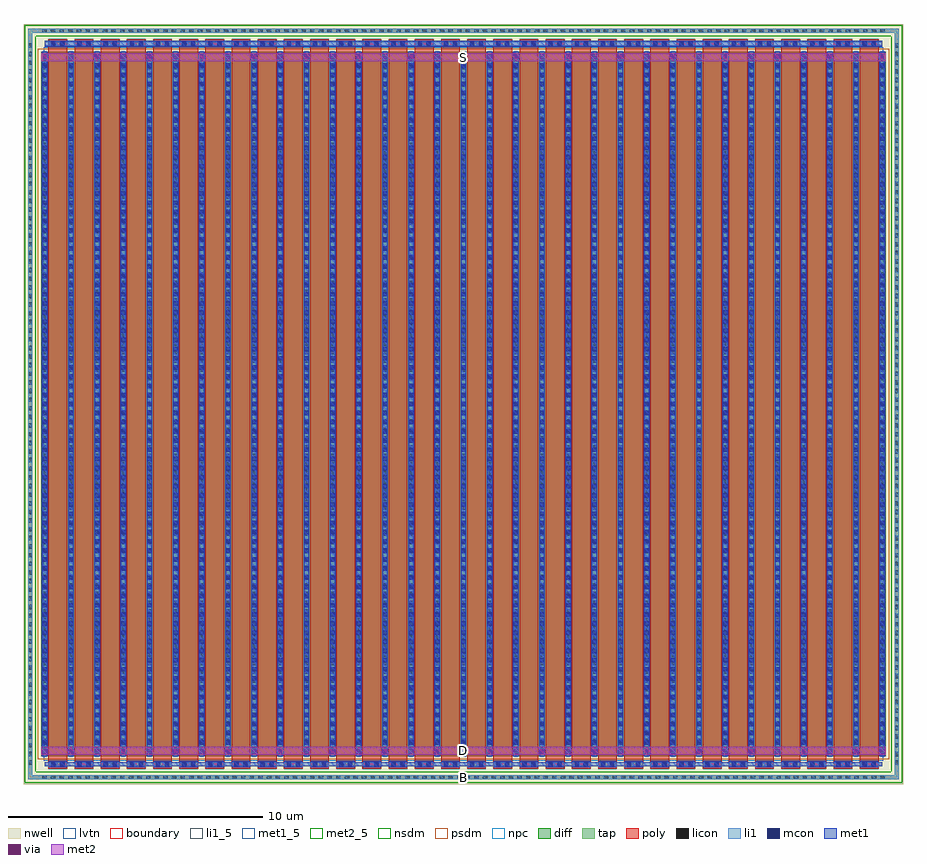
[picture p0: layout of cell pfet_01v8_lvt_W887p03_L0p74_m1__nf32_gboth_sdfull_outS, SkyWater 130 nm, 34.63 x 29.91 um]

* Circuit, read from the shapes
.subckt pfet_01v8_lvt_W887p03_L0p74_m1__nf32_gboth_sdfull_outS B D G S
XM1 D G S B sky130_fd_pr__pfet_01v8_lvt w=27.72 l=0.74 m=32
.ends

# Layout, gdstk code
import gdstk
lib = gdstk.Library(unit=1e-6, precision=1e-09)
def R(c, l, rs):  # rectangles x0, y0, x1, y1
    for r in rs: c.add(gdstk.rectangle(r[:2], r[2:], *l))
def A(c, l, x, y, w, h, nx, ny, dx, dy):  # array of equal rectangles
    R(c, l, [(x+i*dx, y+j*dy, x+i*dx+w, y+j*dy+h) for i in range(nx) for j in range(ny)])
nwell = (64, 20)
diff = (65, 20)
tap = (65, 44)
poly = (66, 20)
licon = (66, 44)
li1_5 = (67, 5)
li1 = (67, 20)
mcon = (67, 44)
met1_5 = (68, 5)
met1 = (68, 20)
via = (68, 44)
met2_5 = (69, 5)
met2 = (69, 20)
nsdm = (93, 44)
psdm = (94, 20)
npc = (95, 20)
lvtn = (125, 44)
boundary = (235, 4)

sky130_fd_pr__pfet_01v8_ = lib.new_cell('sky130_fd_pr__pfet_01v8_lvt_BMU26W')
R(sky130_fd_pr__pfet_01v8_, nwell, [(-17.315,-14.955,17.315,14.955)])
R(sky130_fd_pr__pfet_01v8_, diff, [(-16.625,-13.86,16.625,13.86)])
R(sky130_fd_pr__pfet_01v8_, tap, [(-17.135,-14.775,17.135,-14.605), (-17.135,-14.605,-16.965,14.605), (16.965,-14.605,17.135,14.605), (-17.135,14.605,17.135,14.775)])
A(sky130_fd_pr__pfet_01v8_, poly, -16.335, -14.345, 0.74, 28.69, 32, 1, 1.03, 0)
A(sky130_fd_pr__pfet_01v8_, licon, -16.575, -14.775, 0.17, 0.17, 98, 2, 0.34, 29.38)
A(sky130_fd_pr__pfet_01v8_, licon, -17.135, -14.195, 0.17, 0.17, 1, 84, 0, 0.34)
A(sky130_fd_pr__pfet_01v8_, licon, 16.965, -14.195, 0.17, 0.17, 1, 84, 0, 0.34)
A(sky130_fd_pr__pfet_01v8_, licon, -16.565, -13.685, 0.17, 0.17, 33, 81, 1.03, 0.34)
R(sky130_fd_pr__pfet_01v8_, licon, [(-16.22,-14.265,-16.05,-14.095), (-15.88,-14.265,-15.71,-14.095), (-15.19,-14.265,-15.02,-14.095), (-14.85,-14.265,-14.68,-14.095), (-14.16,-14.265,-13.99,-14.095), (-13.82,-14.265,-13.65,-14.095), (-13.13,-14.265,-12.96,-14.095), (-12.79,-14.265,-12.62,-14.095), (-12.1,-14.265,-11.93,-14.095), (-11.76,-14.265,-11.59,-14.095), (-11.07,-14.265,-10.9,-14.095), (-10.73,-14.265,-10.56,-14.095), (-10.04,-14.265,-9.87,-14.095), (-9.7,-14.265,-9.53,-14.095), (-9.01,-14.265,-8.84,-14.095), (-8.67,-14.265,-8.5,-14.095), (-7.98,-14.265,-7.81,-14.095), (-7.64,-14.265,-7.47,-14.095), (-6.95,-14.265,-6.78,-14.095), (-6.61,-14.265,-6.44,-14.095), (-5.92,-14.265,-5.75,-14.095), (-5.58,-14.265,-5.41,-14.095), (-4.89,-14.265,-4.72,-14.095), (-4.55,-14.265,-4.38,-14.095), (-3.86,-14.265,-3.69,-14.095), (-3.52,-14.265,-3.35,-14.095), (-2.83,-14.265,-2.66,-14.095), (-2.49,-14.265,-2.32,-14.095), (-1.8,-14.265,-1.63,-14.095), (-1.46,-14.265,-1.29,-14.095), (-0.77,-14.265,-0.6,-14.095), (-0.43,-14.265,-0.26,-14.095), (0.26,-14.265,0.43,-14.095), (0.6,-14.265,0.77,-14.095), (1.29,-14.265,1.46,-14.095), (1.63,-14.265,1.8,-14.095), (2.32,-14.265,2.49,-14.095), (2.66,-14.265,2.83,-14.095), (3.35,-14.265,3.52,-14.095), (3.69,-14.265,3.86,-14.095), (4.38,-14.265,4.55,-14.095), (4.72,-14.265,4.89,-14.095), (5.41,-14.265,5.58,-14.095), (5.75,-14.265,5.92,-14.095), (6.44,-14.265,6.61,-14.095), (6.78,-14.265,6.95,-14.095), (7.47,-14.265,7.64,-14.095), (7.81,-14.265,7.98,-14.095), (8.5,-14.265,8.67,-14.095), (8.84,-14.265,9.01,-14.095), (9.53,-14.265,9.7,-14.095), (9.87,-14.265,10.04,-14.095), (10.56,-14.265,10.73,-14.095), (10.9,-14.265,11.07,-14.095), (11.59,-14.265,11.76,-14.095), (11.93,-14.265,12.1,-14.095), (12.62,-14.265,12.79,-14.095), (12.96,-14.265,13.13,-14.095), (13.65,-14.265,13.82,-14.095), (13.99,-14.265,14.16,-14.095), (14.68,-14.265,14.85,-14.095), (15.02,-14.265,15.19,-14.095), (15.71,-14.265,15.88,-14.095), (16.05,-14.265,16.22,-14.095), (-16.22,14.095,-16.05,14.265), (-15.88,14.095,-15.71,14.265), (-15.19,14.095,-15.02,14.265), (-14.85,14.095,-14.68,14.265), (-14.16,14.095,-13.99,14.265), (-13.82,14.095,-13.65,14.265), (-13.13,14.095,-12.96,14.265), (-12.79,14.095,-12.62,14.265), (-12.1,14.095,-11.93,14.265), (-11.76,14.095,-11.59,14.265), (-11.07,14.095,-10.9,14.265), (-10.73,14.095,-10.56,14.265), (-10.04,14.095,-9.87,14.265), (-9.7,14.095,-9.53,14.265), (-9.01,14.095,-8.84,14.265), (-8.67,14.095,-8.5,14.265), (-7.98,14.095,-7.81,14.265), (-7.64,14.095,-7.47,14.265), (-6.95,14.095,-6.78,14.265), (-6.61,14.095,-6.44,14.265), (-5.92,14.095,-5.75,14.265), (-5.58,14.095,-5.41,14.265), (-4.89,14.095,-4.72,14.265), (-4.55,14.095,-4.38,14.265), (-3.86,14.095,-3.69,14.265), (-3.52,14.095,-3.35,14.265), (-2.83,14.095,-2.66,14.265), (-2.49,14.095,-2.32,14.265), (-1.8,14.095,-1.63,14.265), (-1.46,14.095,-1.29,14.265), (-0.77,14.095,-0.6,14.265), (-0.43,14.095,-0.26,14.265), (0.26,14.095,0.43,14.265), (0.6,14.095,0.77,14.265), (1.29,14.095,1.46,14.265), (1.63,14.095,1.8,14.265), (2.32,14.095,2.49,14.265), (2.66,14.095,2.83,14.265), (3.35,14.095,3.52,14.265), (3.69,14.095,3.86,14.265), (4.38,14.095,4.55,14.265), (4.72,14.095,4.89,14.265), (5.41,14.095,5.58,14.265), (5.75,14.095,5.92,14.265), (6.44,14.095,6.61,14.265), (6.78,14.095,6.95,14.265), (7.47,14.095,7.64,14.265), (7.81,14.095,7.98,14.265), (8.5,14.095,8.67,14.265), (8.84,14.095,9.01,14.265), (9.53,14.095,9.7,14.265), (9.87,14.095,10.04,14.265), (10.56,14.095,10.73,14.265), (10.9,14.095,11.07,14.265), (11.59,14.095,11.76,14.265), (11.93,14.095,12.1,14.265), (12.62,14.095,12.79,14.265), (12.96,14.095,13.13,14.265), (13.65,14.095,13.82,14.265), (13.99,14.095,14.16,14.265), (14.68,14.095,14.85,14.265), (15.02,14.095,15.19,14.265), (15.71,14.095,15.88,14.265), (16.05,14.095,16.22,14.265)])
A(sky130_fd_pr__pfet_01v8_, li1, -16.565, -13.88, 0.17, 27.76, 33, 1, 1.03, 0)
R(sky130_fd_pr__pfet_01v8_, li1, [(-17.135,-14.775,17.135,-14.605), (-17.135,-14.605,-16.965,14.605), (16.965,-14.605,17.135,14.605), (-16.48,-14.265,16.48,-14.095), (-16.48,14.095,16.48,14.265), (-17.135,14.605,17.135,14.775)])
A(sky130_fd_pr__pfet_01v8_, mcon, -16.565, -13.765, 0.17, 0.17, 33, 77, 1.03, 0.36)
R(sky130_fd_pr__pfet_01v8_, mcon, [(-16.23,-14.265,-16.06,-14.095), (-15.87,-14.265,-15.7,-14.095), (-15.2,-14.265,-15.03,-14.095), (-14.84,-14.265,-14.67,-14.095), (-14.17,-14.265,-14,-14.095), (-13.81,-14.265,-13.64,-14.095), (-13.14,-14.265,-12.97,-14.095), (-12.78,-14.265,-12.61,-14.095), (-12.11,-14.265,-11.94,-14.095), (-11.75,-14.265,-11.58,-14.095), (-11.08,-14.265,-10.91,-14.095), (-10.72,-14.265,-10.55,-14.095), (-10.05,-14.265,-9.88,-14.095), (-9.69,-14.265,-9.52,-14.095), (-9.02,-14.265,-8.85,-14.095), (-8.66,-14.265,-8.49,-14.095), (-7.99,-14.265,-7.82,-14.095), (-7.63,-14.265,-7.46,-14.095), (-6.96,-14.265,-6.79,-14.095), (-6.6,-14.265,-6.43,-14.095), (-5.93,-14.265,-5.76,-14.095), (-5.57,-14.265,-5.4,-14.095), (-4.9,-14.265,-4.73,-14.095), (-4.54,-14.265,-4.37,-14.095), (-3.87,-14.265,-3.7,-14.095), (-3.51,-14.265,-3.34,-14.095), (-2.84,-14.265,-2.67,-14.095), (-2.48,-14.265,-2.31,-14.095), (-1.81,-14.265,-1.64,-14.095), (-1.45,-14.265,-1.28,-14.095), (-0.78,-14.265,-0.61,-14.095), (-0.42,-14.265,-0.25,-14.095), (0.25,-14.265,0.42,-14.095), (0.61,-14.265,0.78,-14.095), (1.28,-14.265,1.45,-14.095), (1.64,-14.265,1.81,-14.095), (2.31,-14.265,2.48,-14.095), (2.67,-14.265,2.84,-14.095), (3.34,-14.265,3.51,-14.095), (3.7,-14.265,3.87,-14.095), (4.37,-14.265,4.54,-14.095), (4.73,-14.265,4.9,-14.095), (5.4,-14.265,5.57,-14.095), (5.76,-14.265,5.93,-14.095), (6.43,-14.265,6.6,-14.095), (6.79,-14.265,6.96,-14.095), (7.46,-14.265,7.63,-14.095), (7.82,-14.265,7.99,-14.095), (8.49,-14.265,8.66,-14.095), (8.85,-14.265,9.02,-14.095), (9.52,-14.265,9.69,-14.095), (9.88,-14.265,10.05,-14.095), (10.55,-14.265,10.72,-14.095), (10.91,-14.265,11.08,-14.095), (11.58,-14.265,11.75,-14.095), (11.94,-14.265,12.11,-14.095), (12.61,-14.265,12.78,-14.095), (12.97,-14.265,13.14,-14.095), (13.64,-14.265,13.81,-14.095), (14,-14.265,14.17,-14.095), (14.67,-14.265,14.84,-14.095), (15.03,-14.265,15.2,-14.095), (15.7,-14.265,15.87,-14.095), (16.06,-14.265,16.23,-14.095), (-16.23,14.095,-16.06,14.265), (-15.87,14.095,-15.7,14.265), (-15.2,14.095,-15.03,14.265), (-14.84,14.095,-14.67,14.265), (-14.17,14.095,-14,14.265), (-13.81,14.095,-13.64,14.265), (-13.14,14.095,-12.97,14.265), (-12.78,14.095,-12.61,14.265), (-12.11,14.095,-11.94,14.265), (-11.75,14.095,-11.58,14.265), (-11.08,14.095,-10.91,14.265), (-10.72,14.095,-10.55,14.265), (-10.05,14.095,-9.88,14.265), (-9.69,14.095,-9.52,14.265), (-9.02,14.095,-8.85,14.265), (-8.66,14.095,-8.49,14.265), (-7.99,14.095,-7.82,14.265), (-7.63,14.095,-7.46,14.265), (-6.96,14.095,-6.79,14.265), (-6.6,14.095,-6.43,14.265), (-5.93,14.095,-5.76,14.265), (-5.57,14.095,-5.4,14.265), (-4.9,14.095,-4.73,14.265), (-4.54,14.095,-4.37,14.265), (-3.87,14.095,-3.7,14.265), (-3.51,14.095,-3.34,14.265), (-2.84,14.095,-2.67,14.265), (-2.48,14.095,-2.31,14.265), (-1.81,14.095,-1.64,14.265), (-1.45,14.095,-1.28,14.265), (-0.78,14.095,-0.61,14.265), (-0.42,14.095,-0.25,14.265), (0.25,14.095,0.42,14.265), (0.61,14.095,0.78,14.265), (1.28,14.095,1.45,14.265), (1.64,14.095,1.81,14.265), (2.31,14.095,2.48,14.265), (2.67,14.095,2.84,14.265), (3.34,14.095,3.51,14.265), (3.7,14.095,3.87,14.265), (4.37,14.095,4.54,14.265), (4.73,14.095,4.9,14.265), (5.4,14.095,5.57,14.265), (5.76,14.095,5.93,14.265), (6.43,14.095,6.6,14.265), (6.79,14.095,6.96,14.265), (7.46,14.095,7.63,14.265), (7.82,14.095,7.99,14.265), (8.49,14.095,8.66,14.265), (8.85,14.095,9.02,14.265), (9.52,14.095,9.69,14.265), (9.88,14.095,10.05,14.265), (10.55,14.095,10.72,14.265), (10.91,14.095,11.08,14.265), (11.58,14.095,11.75,14.265), (11.94,14.095,12.11,14.265), (12.61,14.095,12.78,14.265), (12.97,14.095,13.14,14.265), (13.64,14.095,13.81,14.265), (14,14.095,14.17,14.265), (14.67,14.095,14.84,14.265), (15.03,14.095,15.2,14.265), (15.7,14.095,15.87,14.265), (16.06,14.095,16.23,14.265)])
A(sky130_fd_pr__pfet_01v8_, met1, -16.315, -14.295, 0.7, 0.03, 32, 2, 1.03, 0.2)
A(sky130_fd_pr__pfet_01v8_, met1, -16.595, -13.86, 0.23, 27.72, 33, 1, 1.03, 0)
A(sky130_fd_pr__pfet_01v8_, met1, -16.315, 14.065, 0.7, 0.03, 32, 2, 1.03, 0.2)
R(sky130_fd_pr__pfet_01v8_, met1, [(-16.48,-14.265,16.48,-14.095), (-16.48,14.095,16.48,14.265)])
R(sky130_fd_pr__pfet_01v8_, nsdm, [(-17.26,-14.9,17.26,-14.48), (-17.26,-14.48,-16.84,14.48), (16.84,-14.48,17.26,14.48), (-17.26,14.48,17.26,14.9)])
R(sky130_fd_pr__pfet_01v8_, psdm, [(-16.75,-13.985,16.75,13.985)])
A(sky130_fd_pr__pfet_01v8_, npc, -16.32, -14.365, 0.71, 0.37, 32, 2, 1.03, 28.36)
R(sky130_fd_pr__pfet_01v8_, lvtn, [(-16.515,-14.04,16.515,14.04)])
R(sky130_fd_pr__pfet_01v8_, boundary, [(-17.05,-14.69,17.05,14.69)])
sky130_fd_pr__pfet_01v8_.add(gdstk.Label('B', (0,-14.69), layer=67, texttype=5))
sky130_fd_pr__pfet_01v8_.add(gdstk.Label('D0', (-16.48,0), layer=67, texttype=5))
sky130_fd_pr__pfet_01v8_.add(gdstk.Label('G', (15.965,14.18), layer=67, texttype=5))
sky130_fd_pr__pfet_01v8_.add(gdstk.Label('G', (14.935,14.18), layer=67, texttype=5))
sky130_fd_pr__pfet_01v8_.add(gdstk.Label('G', (13.905,14.18), layer=67, texttype=5))
sky130_fd_pr__pfet_01v8_.add(gdstk.Label('G', (12.875,14.18), layer=67, texttype=5))
sky130_fd_pr__pfet_01v8_.add(gdstk.Label('G', (11.845,14.18), layer=67, texttype=5))
sky130_fd_pr__pfet_01v8_.add(gdstk.Label('G', (10.815,14.18), layer=67, texttype=5))
sky130_fd_pr__pfet_01v8_.add(gdstk.Label('G', (9.785,14.18), layer=67, texttype=5))
sky130_fd_pr__pfet_01v8_.add(gdstk.Label('G', (8.755,14.18), layer=67, texttype=5))
sky130_fd_pr__pfet_01v8_.add(gdstk.Label('G', (7.725,14.18), layer=67, texttype=5))
sky130_fd_pr__pfet_01v8_.add(gdstk.Label('G', (6.695,14.18), layer=67, texttype=5))
sky130_fd_pr__pfet_01v8_.add(gdstk.Label('G', (5.665,14.18), layer=67, texttype=5))
sky130_fd_pr__pfet_01v8_.add(gdstk.Label('G', (4.635,14.18), layer=67, texttype=5))
sky130_fd_pr__pfet_01v8_.add(gdstk.Label('G', (3.605,14.18), layer=67, texttype=5))
sky130_fd_pr__pfet_01v8_.add(gdstk.Label('G', (2.575,14.18), layer=67, texttype=5))
sky130_fd_pr__pfet_01v8_.add(gdstk.Label('G', (1.545,14.18), layer=67, texttype=5))
sky130_fd_pr__pfet_01v8_.add(gdstk.Label('G', (0.515,14.18), layer=67, texttype=5))
sky130_fd_pr__pfet_01v8_.add(gdstk.Label('G', (-0.515,14.18), layer=67, texttype=5))
sky130_fd_pr__pfet_01v8_.add(gdstk.Label('G', (-1.545,14.18), layer=67, texttype=5))
sky130_fd_pr__pfet_01v8_.add(gdstk.Label('G', (-2.575,14.18), layer=67, texttype=5))
sky130_fd_pr__pfet_01v8_.add(gdstk.Label('G', (-3.605,14.18), layer=67, texttype=5))
sky130_fd_pr__pfet_01v8_.add(gdstk.Label('G', (-4.635,14.18), layer=67, texttype=5))
sky130_fd_pr__pfet_01v8_.add(gdstk.Label('G', (-5.665,14.18), layer=67, texttype=5))
sky130_fd_pr__pfet_01v8_.add(gdstk.Label('G', (-6.695,14.18), layer=67, texttype=5))
sky130_fd_pr__pfet_01v8_.add(gdstk.Label('G', (-7.725,14.18), layer=67, texttype=5))
sky130_fd_pr__pfet_01v8_.add(gdstk.Label('G', (-8.755,14.18), layer=67, texttype=5))
sky130_fd_pr__pfet_01v8_.add(gdstk.Label('G', (-9.785,14.18), layer=67, texttype=5))
sky130_fd_pr__pfet_01v8_.add(gdstk.Label('G', (-10.815,14.18), layer=67, texttype=5))
sky130_fd_pr__pfet_01v8_.add(gdstk.Label('G', (-11.845,14.18), layer=67, texttype=5))
sky130_fd_pr__pfet_01v8_.add(gdstk.Label('G', (-12.875,14.18), layer=67, texttype=5))
sky130_fd_pr__pfet_01v8_.add(gdstk.Label('G', (-13.905,14.18), layer=67, texttype=5))
sky130_fd_pr__pfet_01v8_.add(gdstk.Label('G', (-14.935,14.18), layer=67, texttype=5))
sky130_fd_pr__pfet_01v8_.add(gdstk.Label('G', (-15.965,14.18), layer=67, texttype=5))
sky130_fd_pr__pfet_01v8_.add(gdstk.Label('S1', (-15.45,0), layer=67, texttype=5))
sky130_fd_pr__pfet_01v8_.add(gdstk.Label('D2', (-14.42,0), layer=67, texttype=5))
sky130_fd_pr__pfet_01v8_.add(gdstk.Label('S3', (-13.39,0), layer=67, texttype=5))
sky130_fd_pr__pfet_01v8_.add(gdstk.Label('D4', (-12.36,0), layer=67, texttype=5))
sky130_fd_pr__pfet_01v8_.add(gdstk.Label('S5', (-11.33,0), layer=67, texttype=5))
sky130_fd_pr__pfet_01v8_.add(gdstk.Label('D6', (-10.3,0), layer=67, texttype=5))
sky130_fd_pr__pfet_01v8_.add(gdstk.Label('S7', (-9.27,0), layer=67, texttype=5))
sky130_fd_pr__pfet_01v8_.add(gdstk.Label('D8', (-8.24,0), layer=67, texttype=5))
sky130_fd_pr__pfet_01v8_.add(gdstk.Label('S9', (-7.21,0), layer=67, texttype=5))
sky130_fd_pr__pfet_01v8_.add(gdstk.Label('D10', (-6.18,0), layer=67, texttype=5))
sky130_fd_pr__pfet_01v8_.add(gdstk.Label('S11', (-5.15,0), layer=67, texttype=5))
sky130_fd_pr__pfet_01v8_.add(gdstk.Label('D12', (-4.12,0), layer=67, texttype=5))
sky130_fd_pr__pfet_01v8_.add(gdstk.Label('S13', (-3.09,0), layer=67, texttype=5))
sky130_fd_pr__pfet_01v8_.add(gdstk.Label('D14', (-2.06,0), layer=67, texttype=5))
sky130_fd_pr__pfet_01v8_.add(gdstk.Label('S15', (-1.03,0), layer=67, texttype=5))
sky130_fd_pr__pfet_01v8_.add(gdstk.Label('D16', (0,0), layer=67, texttype=5))
sky130_fd_pr__pfet_01v8_.add(gdstk.Label('S17', (1.03,0), layer=67, texttype=5))
sky130_fd_pr__pfet_01v8_.add(gdstk.Label('D18', (2.06,0), layer=67, texttype=5))
sky130_fd_pr__pfet_01v8_.add(gdstk.Label('S19', (3.09,0), layer=67, texttype=5))
sky130_fd_pr__pfet_01v8_.add(gdstk.Label('D20', (4.12,0), layer=67, texttype=5))
sky130_fd_pr__pfet_01v8_.add(gdstk.Label('S21', (5.15,0), layer=67, texttype=5))
sky130_fd_pr__pfet_01v8_.add(gdstk.Label('D22', (6.18,0), layer=67, texttype=5))
sky130_fd_pr__pfet_01v8_.add(gdstk.Label('S23', (7.21,0), layer=67, texttype=5))
sky130_fd_pr__pfet_01v8_.add(gdstk.Label('D24', (8.24,0), layer=67, texttype=5))
sky130_fd_pr__pfet_01v8_.add(gdstk.Label('S25', (9.27,0), layer=67, texttype=5))
sky130_fd_pr__pfet_01v8_.add(gdstk.Label('D26', (10.3,0), layer=67, texttype=5))
sky130_fd_pr__pfet_01v8_.add(gdstk.Label('S27', (11.33,0), layer=67, texttype=5))
sky130_fd_pr__pfet_01v8_.add(gdstk.Label('D28', (12.36,0), layer=67, texttype=5))
sky130_fd_pr__pfet_01v8_.add(gdstk.Label('S29', (13.39,0), layer=67, texttype=5))
sky130_fd_pr__pfet_01v8_.add(gdstk.Label('D30', (14.42,0), layer=67, texttype=5))
sky130_fd_pr__pfet_01v8_.add(gdstk.Label('S31', (15.45,0), layer=67, texttype=5))

pfet_01v8_lvt_w887p03_l0 = lib.new_cell('pfet_01v8_lvt_W887p03_L0p74_m1__nf32_gboth_sdfull_outS')
R(pfet_01v8_lvt_w887p03_l0, li1_5, [(16.965,-0.085,17.135,0.085)])
R(pfet_01v8_lvt_w887p03_l0, li1, [(16.965,-0.085,17.135,0.085)])
R(pfet_01v8_lvt_w887p03_l0, met1_5, [(0.57,28.755,33.53,28.985)])
A(pfet_01v8_lvt_w887p03_l0, met1, 1.47, 0.88, 0.26, 0.32, 16, 1, 2.06, 0)
A(pfet_01v8_lvt_w887p03_l0, met1, 0.44, 28.18, 0.26, 0.32, 17, 1, 2.06, 0)
R(pfet_01v8_lvt_w887p03_l0, met1, [(0.57,28.755,33.53,28.985)])
A(pfet_01v8_lvt_w887p03_l0, via, 1.525, 0.965, 0.15, 0.15, 16, 1, 2.06, 0)
A(pfet_01v8_lvt_w887p03_l0, via, 0.495, 28.265, 0.15, 0.15, 17, 1, 2.06, 0)
R(pfet_01v8_lvt_w887p03_l0, met2_5, [(0.435,0.88,33.665,1.2), (0.435,28.18,33.665,28.5)])
R(pfet_01v8_lvt_w887p03_l0, met2, [(0.435,0.88,33.665,1.2), (0.435,28.18,33.665,28.5)])
pfet_01v8_lvt_w887p03_l0.add(gdstk.Reference(sky130_fd_pr__pfet_01v8_, (17.05,14.69)))
pfet_01v8_lvt_w887p03_l0.add(gdstk.Label('S', (17.05,28.34), layer=69, texttype=5))
pfet_01v8_lvt_w887p03_l0.add(gdstk.Label('D', (17.05,1.04), layer=69, texttype=5))
pfet_01v8_lvt_w887p03_l0.add(gdstk.Label('G', (17.05,28.87), layer=68, texttype=5))
pfet_01v8_lvt_w887p03_l0.add(gdstk.Label('B', (17.05,0), layer=67, texttype=5))

lib.write_gds('pfet_01v8_lvt_W887p03_L0p74_m1__nf32_gboth_sdfull_outS.gds')
